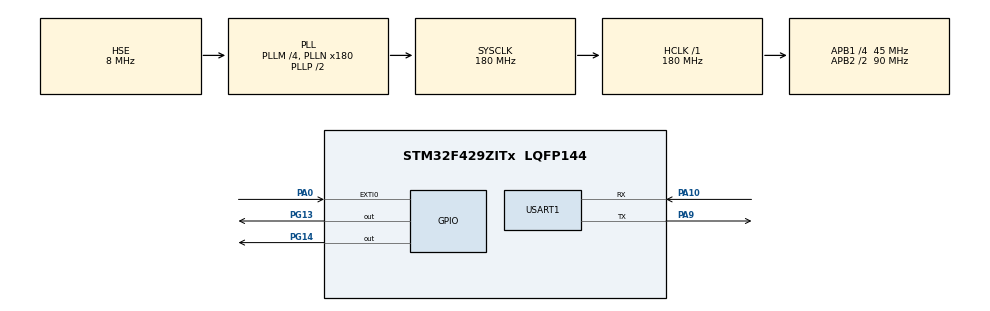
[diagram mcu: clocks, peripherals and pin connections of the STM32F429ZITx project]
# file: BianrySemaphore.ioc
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FREERTOS.Tasks01=defaultTask,0,128,StartDefaultTask,Default,NULL,Dynamic,NULL,NULL
Mcu.Family=STM32F4
Mcu.Name=STM32F429ZITx
Mcu.Package=LQFP144
NVIC.EXTI0_IRQn=true\:0\:0\:false\:false\:true\:false\:true\:true\:true
NVIC.PriorityGroup=NVIC_PRIORITYGROUP_4
NVIC.TIM6_DAC_IRQn=true\:0\:0\:false\:false\:true\:false\:false\:true\:true
NVIC.TimeBase=TIM6_DAC_IRQn
NVIC.TimeBaseIP=TIM6
PA0/WKUP.Signal=GPXTI0
PA10.Mode=Asynchronous
PA10.Signal=USART1_RX
PA9.Mode=Asynchronous
PA9.Signal=USART1_TX
PG13.Signal=GPIO_Output
PG14.Signal=GPIO_Output
PH0/OSC_IN.Mode=HSE-External-Oscillator
PH0/OSC_IN.Signal=RCC_OSC_IN
PH1/OSC_OUT.Mode=HSE-External-Oscillator
PH1/OSC_OUT.Signal=RCC_OSC_OUT
ProjectManager.HeapSize=0x200
ProjectManager.StackSize=0x400
ProjectManager.TargetToolchain=STM32CubeIDE
RCC.48MHZClocksFreq_Value=51428571.428571425
RCC.AHBFreq_Value=180000000
RCC.APB1CLKDivider=RCC_HCLK_DIV4
RCC.APB1Freq_Value=45000000
RCC.APB1TimFreq_Value=90000000
RCC.APB2CLKDivider=RCC_HCLK_DIV2
RCC.APB2Freq_Value=90000000
RCC.APB2TimFreq_Value=180000000
RCC.CortexFreq_Value=180000000
RCC.HCLKFreq_Value=180000000
RCC.HSE_VALUE=8000000
RCC.HSI_VALUE=16000000
RCC.LSE_VALUE=32768
RCC.PLLM=4
RCC.PLLN=180
RCC.PLLQ=7
RCC.PLLSourceVirtual=RCC_PLLSOURCE_HSE
RCC.SYSCLKFreq_VALUE=180000000
RCC.SYSCLKSource=RCC_SYSCLKSOURCE_PLLCLK
RCC.VCOOutputFreq_Value=360000000
USART1.VirtualMode=VM_ASYNC
VP_FREERTOS_VS_CMSIS_V1.Mode=CMSIS_V1
VP_SYS_VS_tim6.Mode=TIM6
board=STM32F429I-DISC1

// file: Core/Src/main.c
/* USER CODE BEGIN Header */
/**
  ******************************************************************************
  * @file           : main.c
  * @brief          : Main program body
  ******************************************************************************
  * @attention
  *
  * Copyright (c) 2025 STMicroelectronics.
  * All rights reserved.
  *
  * This software is licensed under terms that can be found in the LICENSE file
  * in the root directory of this software component.
  * If no LICENSE file comes with this software, it is provided AS-IS.
  *
  ******************************************************************************
  */
/* USER CODE END Header */
#include "main.h"

/* USER CODE BEGIN Includes */
#include "FreeRTOS.h"
#include "task.h"
#include "timers.h"
#include "queue.h"
#include "semphr.h"
#include "event_groups.h"
/* USER CODE END Includes */

UART_HandleTypeDef huart1;

void SystemClock_Config(void);
static void MX_GPIO_Init(void);
static void MX_USART1_UART_Init(void);

/* USER CODE BEGIN 0 */

TaskHandle_t Task01Handle;
TaskHandle_t Task02Handle;

SemaphoreHandle_t BinarySemHandle;

void StartTask01(void *argument);
void StartTask02(void *argument);

/* USER CODE END 0 */

int main(void)
{

  /* MCU Configuration--------------------------------------------------------*/

  /* Reset of all peripherals, Initializes the Flash interface and the Systick. */
  HAL_Init();

  /* Configure the system clock */
  SystemClock_Config();

  /* Initialize all configured peripherals */
  MX_GPIO_Init();
  MX_USART1_UART_Init();
  /* USER CODE BEGIN 2 */

  /* Create the binary semaphore */
  BinarySemHandle = xSemaphoreCreateBinary();
	if (BinarySemHandle == NULL) {
		/* Semaphore was not created successfully */
		HAL_UART_Transmit(&huart1, (uint8_t *)"Failed to create semaphore\r\n", 28, HAL_MAX_DELAY);
	}else{
		HAL_UART_Transmit(&huart1,(uint8_t*) "Semaphore created successfully\r\n", 32,HAL_MAX_DELAY);
	}

	/* Create the tasks */
	xTaskCreate(StartTask01, "TASK01", 128, NULL, 2, &Task01Handle);
	xTaskCreate(StartTask02, "TASK02", 128, NULL, 1, &Task02Handle);

	/* Start the scheduler */
	vTaskStartScheduler();

  /* USER CODE END 2 */

  /* We should never get here as control is now taken by the scheduler */

  /* Infinite loop */
  while (1)
  {

  }
}

void SystemClock_Config(void)
{
  RCC_OscInitTypeDef RCC_OscInitStruct = {0};
  RCC_ClkInitTypeDef RCC_ClkInitStruct = {0};

  /** Configure the main internal regulator output voltage
  */
  __HAL_RCC_PWR_CLK_ENABLE();
  __HAL_PWR_VOLTAGESCALING_CONFIG(PWR_REGULATOR_VOLTAGE_SCALE1);

  /** Initializes the RCC Oscillators according to the specified parameters
  * in the RCC_OscInitTypeDef structure.
  */
  RCC_OscInitStruct.OscillatorType = RCC_OSCILLATORTYPE_HSE;
  RCC_OscInitStruct.HSEState = RCC_HSE_ON;
  RCC_OscInitStruct.PLL.PLLState = RCC_PLL_ON;
  RCC_OscInitStruct.PLL.PLLSource = RCC_PLLSOURCE_HSE;
  RCC_OscInitStruct.PLL.PLLM = 4;
  RCC_OscInitStruct.PLL.PLLN = 180;
  RCC_OscInitStruct.PLL.PLLP = RCC_PLLP_DIV2;
  RCC_OscInitStruct.PLL.PLLQ = 7;
  if (HAL_RCC_OscConfig(&RCC_OscInitStruct) != HAL_OK)
  {
    Error_Handler();
  }

  /** Activate the Over-Drive mode
  */
  if (HAL_PWREx_EnableOverDrive() != HAL_OK)
  {
    Error_Handler();
  }

  /** Initializes the CPU, AHB and APB buses clocks
  */
  RCC_ClkInitStruct.ClockType = RCC_CLOCKTYPE_HCLK|RCC_CLOCKTYPE_SYSCLK
                              |RCC_CLOCKTYPE_PCLK1|RCC_CLOCKTYPE_PCLK2;
  RCC_ClkInitStruct.SYSCLKSource = RCC_SYSCLKSOURCE_PLLCLK;
  RCC_ClkInitStruct.AHBCLKDivider = RCC_SYSCLK_DIV1;
  RCC_ClkInitStruct.APB1CLKDivider = RCC_HCLK_DIV4;
  RCC_ClkInitStruct.APB2CLKDivider = RCC_HCLK_DIV2;

  if (HAL_RCC_ClockConfig(&RCC_ClkInitStruct, FLASH_LATENCY_5) != HAL_OK)
  {
    Error_Handler();
  }
}

static void MX_USART1_UART_Init(void)
{

  huart1.Instance = USART1;
  huart1.Init.BaudRate = 115200;
  huart1.Init.WordLength = UART_WORDLENGTH_8B;
  huart1.Init.StopBits = UART_STOPBITS_1;
  huart1.Init.Parity = UART_PARITY_NONE;
  huart1.Init.Mode = UART_MODE_TX_RX;
  huart1.Init.HwFlowCtl = UART_HWCONTROL_NONE;
  huart1.Init.OverSampling = UART_OVERSAMPLING_16;
  if (HAL_UART_Init(&huart1) != HAL_OK)
  {
    Error_Handler();
  }

}

static void MX_GPIO_Init(void)
{
  GPIO_InitTypeDef GPIO_InitStruct = {0};

  /* GPIO Ports Clock Enable */
  __HAL_RCC_GPIOH_CLK_ENABLE();
  __HAL_RCC_GPIOA_CLK_ENABLE();
  __HAL_RCC_GPIOG_CLK_ENABLE();

  /*Configure GPIO pin Output Level */
  HAL_GPIO_WritePin(GPIOG, GPIO_PIN_13|GPIO_PIN_14, GPIO_PIN_RESET);

  /*Configure GPIO pin : PA0 */
  GPIO_InitStruct.Pin = GPIO_PIN_0;
  GPIO_InitStruct.Mode = GPIO_MODE_IT_RISING;
  GPIO_InitStruct.Pull = GPIO_NOPULL;
  HAL_GPIO_Init(GPIOA, &GPIO_InitStruct);

  /*Configure GPIO pins : PG13 PG14 */
  GPIO_InitStruct.Pin = GPIO_PIN_13|GPIO_PIN_14;
  GPIO_InitStruct.Mode = GPIO_MODE_OUTPUT_PP;
  GPIO_InitStruct.Pull = GPIO_NOPULL;
  GPIO_InitStruct.Speed = GPIO_SPEED_FREQ_LOW;
  HAL_GPIO_Init(GPIOG, &GPIO_InitStruct);

  /* EXTI interrupt init*/
  /* Why 0 -> 6 */
  /* Priority 0 is the highest priority */
  // Set EXTI0 interrupt priority to 6 (safe for FreeRTOS).
  // Priority 0 (highest) is unsafe as it can interrupt FreeRTOS kernel,
  // causing crashes or task freezes (e.g., Task2 stopping).
  // FreeRTOS requires interrupts using APIs like xSemaphoreGiveFromISR
  // to have a priority >= configMAX_SYSCALL_INTERRUPT_PRIORITY (e.g., 5 or 6).
  HAL_NVIC_SetPriority(EXTI0_IRQn, 6, 0);
  HAL_NVIC_EnableIRQ(EXTI0_IRQn);

}

void StartTask01(void* argument){
	for(;;){
		// Wait for the semaphore (released by EXTI)
		if (xSemaphoreTake(BinarySemHandle, portMAX_DELAY) == pdTRUE) {
			// Semaphore acquired, toggle LED
			HAL_GPIO_TogglePin(GPIOG, GPIO_PIN_13);
		}
	}
}

void StartTask02(void *argument) {
	for(;;){
		HAL_GPIO_TogglePin(GPIOG, GPIO_PIN_14);
		vTaskDelay(pdMS_TO_TICKS(1000)); // Delay 1000ms
	}
}

void HAL_GPIO_EXTI_Callback(uint16_t GPIO_Pin)
{
  if(GPIO_Pin == GPIO_PIN_0)
  {
	  // Release the binary semaphore
	  BaseType_t xHigherPriorityTaskWoken = pdFALSE;
	  xSemaphoreGiveFromISR(BinarySemHandle, &xHigherPriorityTaskWoken);

	  // Perform context switch if needed
	  portEND_SWITCHING_ISR(xHigherPriorityTaskWoken);
  }
}

void HAL_TIM_PeriodElapsedCallback(TIM_HandleTypeDef *htim)
{
  if (htim->Instance == TIM6)
  {
    HAL_IncTick();
  }
}

void Error_Handler(void)
{
  __disable_irq();
  while (1)
  {
  }
}
